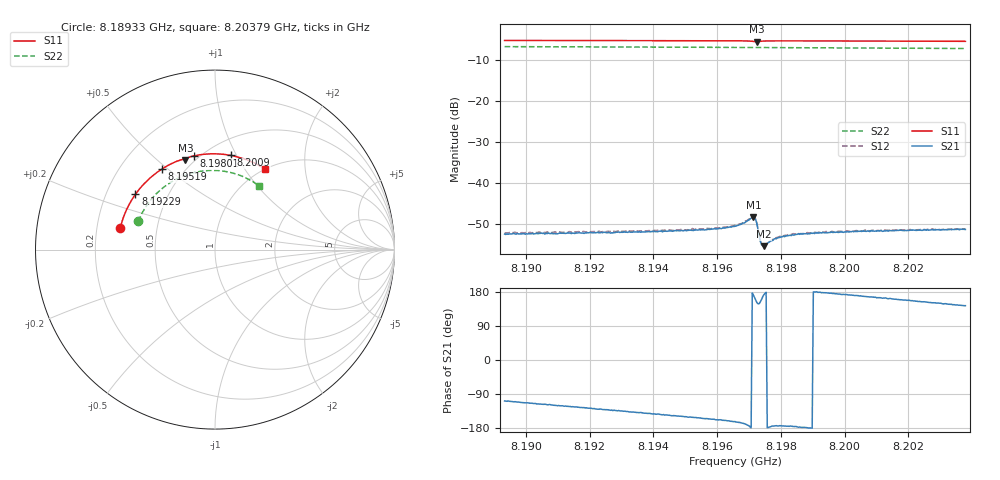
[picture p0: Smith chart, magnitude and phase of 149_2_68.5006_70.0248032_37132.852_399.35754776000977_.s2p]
#  HZ  S  RI  R  50.00
! Rohde & Schwarz Vector Network Analyzer
! Rohde-Schwarz,ZNB20-2Port,1311601062101988,3.16
! Created: UTC 3/20/2024, 4:55:12 PM
! freq[Hz]  re:S11  im:S11  re:S21  im:S21  re:S12  im:S12  re:S22  im:S22
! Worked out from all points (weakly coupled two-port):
!   401 points, 8.18933 GHz to 8.20379 GHz, reference 50 ohm
!   highest |S21| = -48.31 dB at 8.19714 GHz (marker M1); lowest = -55.4 dB at 8.19746 GHz (marker M2)
!   lowest |S11| = -5.6 dB at 8.19725 GHz (marker M3), VSWR 3.19, Z = 22.7 + j31 ohm
!   |S11| at or under -10 dB: nowhere
!   |S22| runs from -7.3 to -6.8 dB; largest |S21 - S12| = 0.00022
!   S11 on the Smith chart (normalised r, x): 8.18933 GHz: 0.30, +0.10; 8.19229 GHz: 0.33, +0.28; 8.19519 GHz: 0.38, +0.48; 8.19801 GHz: 0.47, +0.69; 8.2009 GHz: 0.65, +0.95; 8.20379 GHz: 0.99, +1.24
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8.189328e9  -0.528 0.1195  -0.000737 -0.00227  -0.000842 -0.00234  -0.4273 0.1573
8.191751e9  -0.4641 0.2763  -0.00143 -0.00199  -0.00152 -0.00203  -0.3606 0.2732
8.192293e9  -0.4431 0.3082  -0.00159 -0.00189  -0.00172 -0.00193  -0.3413 0.296
8.194174e9  -0.3543 0.4058  -0.00207 -0.00156  -0.00218 -0.0015  -0.2623 0.3647
8.195186e9  -0.2969 0.4484  -0.00232 -0.00129  -0.00239 -0.00122  -0.2137 0.3935
8.196054e9  -0.2432 0.4787  -0.00258 -0.00104  -0.00267 -0.000981  -0.1693 0.4129
8.19656e9  -0.2095 0.4935  -0.00283 -0.000901  -0.00295 -0.000782  -0.1424 0.4221
8.196814e9  -0.1914 0.4996  -0.00317 -0.000739  -0.00327 -0.000617  -0.1288 0.4261
8.197067e9  -0.171 0.5022  -0.00373 -6.18e-05  -0.00381 0.000139  -0.1149 0.4295
8.197139e9  -0.1657 0.5001  -0.0038 0.00059  -0.00383 0.000733  -0.1109 0.4302
8.197211e9  -0.1638 0.497  -0.00331 0.00133  -0.00329 0.00147  -0.1071 0.431
8.197247e9  -0.1644 0.4966  -0.0028 0.00153  -0.00278 0.00165  -0.1051 0.4314
8.197356e9  -0.1637 0.5027  -0.00174 0.000861  -0.00173 0.000955  -0.0992 0.4328
8.197392e9  -0.1619 0.505  -0.00166 0.000622  -0.00168 0.000689  -0.0972 0.4333
8.197464e9  -0.157 0.5088  -0.00168 0.000235  -0.00172 0.000304  -0.0933 0.4341
8.197754e9  -0.1356 0.5174  -0.00199 -0.000193  -0.00206 -8.81e-05  -0.0771 0.4368
8.198007e9  -0.1172 0.5221  -0.00219 -0.000241  -0.00224 -0.000129  -0.0629 0.4385
8.198549e9  -0.0788 0.529  -0.00241 -0.000111  -0.00242 -8.39e-06  -0.0324 0.4409
8.198983e9  -0.0479 0.5322  -0.00243 -6.86e-06  -0.00248 7.85e-05  -0.0079 0.4412
8.2009e9  0.0873 0.5249  -0.00252 0.000626  -0.00254 0.000749  0.0996 0.4264
8.201406e9  0.1223 0.5172  -0.0025 0.0008  -0.00249 0.000964  0.1273 0.4178
8.203793e9  0.2765 0.4501  -0.00218 0.00162  -0.00215 0.00173  0.2478 0.3539
